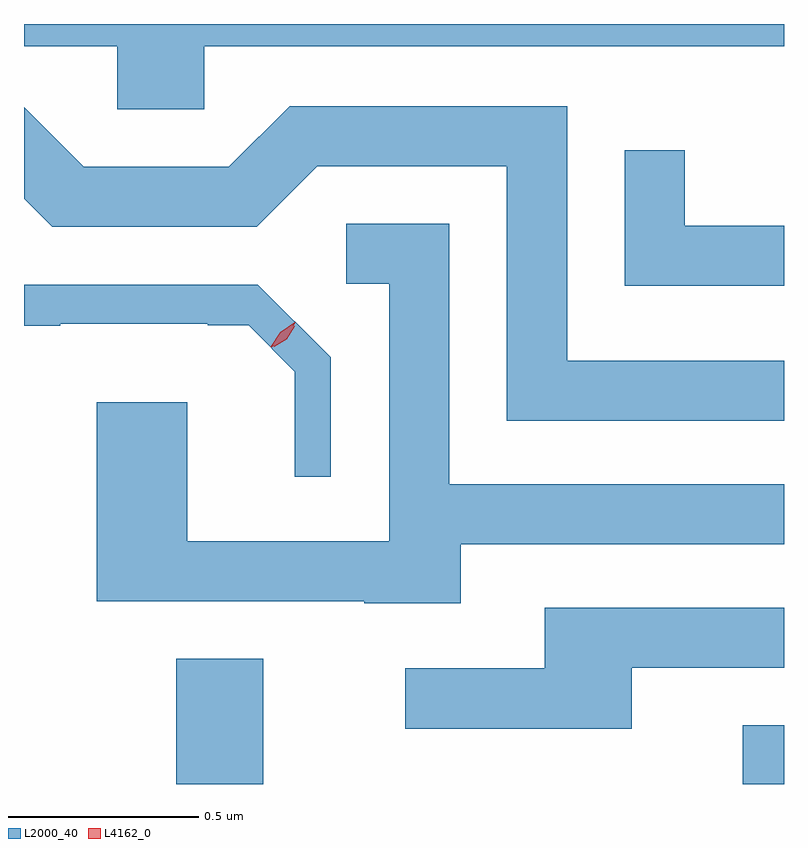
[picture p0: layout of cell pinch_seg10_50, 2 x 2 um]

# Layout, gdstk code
import gdstk
lib = gdstk.Library(unit=1e-6, precision=1e-09)
def R(c, l, rs):  # rectangles x0, y0, x1, y1
    for r in rs: c.add(gdstk.rectangle(r[:2], r[2:], *l))
def P(c, l, *ps):  # polygons
    for p in ps: c.add(gdstk.Polygon(p, *l))
L2000_40 = (2000, 40)
L4162_0 = (4162, 0)

pinch_seg10_50 = lib.new_cell('pinch_seg10_50')
R(pinch_seg10_50, L2000_40, [(593.031,2183.015,593.259,2183.344), (594.521,2183.015,594.63,2183.169)])
P(pinch_seg10_50, L2000_40, [(593.104,2184.956),(594.63,2184.956),(594.63,2185.015),(592.63,2185.015),(592.63,2184.956),(592.876,2184.956),(592.876,2184.791),(593.104,2184.791)],
  [(594.63,2184.129),(594.059,2184.129),(594.059,2184.799),(593.329,2184.799),(593.169,2184.639),(592.787,2184.639),(592.63,2184.796),(592.63,2184.555),(592.704,2184.481),(593.242,2184.481),(593.402,2184.641),(593.901,2184.641),(593.901,2183.971),(594.63,2183.971)],
  [(594.63,2184.484),(594.369,2184.484),(594.369,2184.683),(594.211,2184.683),(594.211,2184.326),(594.63,2184.326)],
  [(593.779,2183.646),(594.63,2183.646),(594.63,2183.804),(593.749,2183.804),(593.749,2184.489),(593.478,2184.489),(593.478,2184.331),(593.591,2184.331),(593.591,2183.654),(593.059,2183.654),(593.059,2184.019),(592.821,2184.019),(592.821,2183.496),(593.525,2183.496),(593.525,2183.491),(593.779,2183.491)],
  [(593.437,2184.138),(593.245,2184.329),(592.63,2184.329),(592.63,2184.221),(592.725,2184.221),(592.725,2184.226),(593.114,2184.226),(593.114,2184.222),(593.221,2184.222),(593.343,2184.1),(593.343,2183.823),(593.437,2183.823)],
  [(594.229,2183.321),(594.63,2183.321),(594.63,2183.479),(594.001,2183.479),(594.001,2183.319),(593.633,2183.319),(593.633,2183.161),(594.229,2183.161)])
P(pinch_seg10_50, L4162_0, [(593.279,2184.165),(593.279,2184.166),(593.304,2184.204),(593.343,2184.23),(593.344,2184.23),(593.344,2184.229),(593.319,2184.19),(593.28,2184.165)],
  [(593.287,2184.166),(593.287,2184.166),(593.308,2184.2),(593.342,2184.221),(593.343,2184.221),(593.343,2184.22),(593.322,2184.186),(593.288,2184.166)])

lib.write_gds('pinch_seg10_50.gds')
